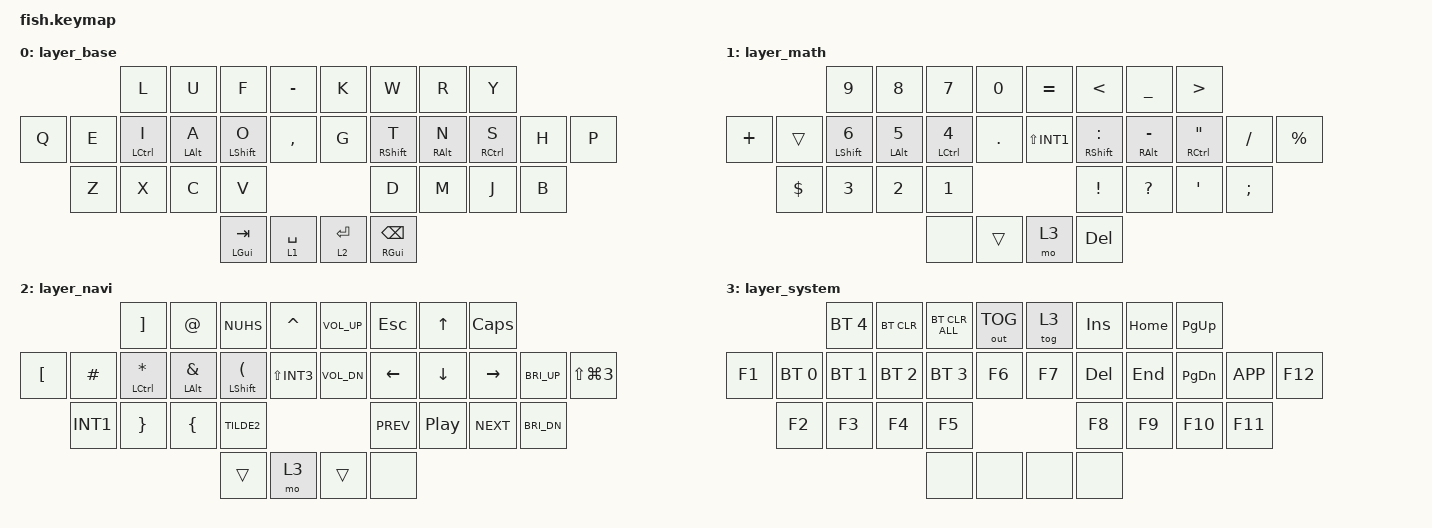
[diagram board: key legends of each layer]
// キーマップを更新する方法は https://o24.works/fish/guide を参照
// 視覚的に編集するには https://o24.works/fish/editor を参照


// 定義を呼んでくる
#include <behaviors.dtsi>
#include <dt-bindings/zmk/keys.h>
#include <dt-bindings/zmk/mouse.h>
#include <dt-bindings/zmk/bt.h>
#include <dt-bindings/zmk/outputs.h>


// 特殊入力の挙動を調整できる

&mt {
    flavor = "tap-preferred";
    tapping-term-ms = <225>;
    quick-tap-ms = <200>;
    require-prior-idle-ms = <150>;
};

&lt {
    flavor = "balanced";
    quick-tap-ms = <200>;
};

&sk {
};

&sl {
};

&caps_word {
};

&key_repeat {
};


/ {
    // 独自の入力を定義できる（上級者向け）

    behaviors {
    };

    macros {
    };

    conditional_layers {
    };


    // 複数キーの同時押しに特別の入力を設定できる
    // キー番号早見表：
    //       0  1  2  3     4  5  6  7
    // 8  9 10 11 12 13    14 15 16 17 18 19
    //   20 21 22 23          24 25 26 27
    //            28 29    30 31

    combos {
        compatible = "zmk,combos";
        timeout-ms = <150>;
        require-prior-idle-ms = <150>;

        combo_lang2 {
            key-positions = <21 22>;
            bindings = <&kp LANG2>;
        };

        combo_lang1 {
            key-positions = <25 26>;
            bindings = <&kp LANG1>;
        };

        combo_mb4 {
            key-positions = <11 12>;
            bindings = <&mkp MB4>;
        };

        combo_mb5 {
            key-positions = <15 16>;
            bindings = <&mkp MB5>;
        };

        combo_la_f4 {
            key-positions = <6 11 16>;
            bindings = <&kp LA(F4)>;
        };
    };
    

    // キーに入力を割り当てる
    // 型（&...）は https://zmk.dev/docs/behaviors/... を参照
    // キーコードは https://zmk.dev/docs/codes/... を参照

    keymap {
        compatible = "zmk,keymap";

        layer_base {
            bindings = <
                        &kp L       &kp U       &kp F       &kp MINUS           &kp K       &kp W       &kp R       &kp Y       
&kp Q       &kp E       &mt LCTRL I &mt LALT A  &mt LSHFT O &kp COMMA           &kp G       &mt RSHFT T &mt RALT N  &mt RCTRL S &kp H       &kp P       
            &kp Z       &kp X       &kp C       &kp V                                       &kp D       &kp M       &kp J       &kp B       
                                                &mt LGUI TAB &lt 1 SPACE        &lt 2 RET   &mt RGUI BSPC 
            >;
        };

        layer_math {
            bindings = <
                        &kp N9      &kp N8      &kp N7      &kp N0              &kp EQUAL   &kp LT      &kp UNDER   &kp GT      
&kp PLUS    &trans      &mt LSHFT N6 &mt LALT N5 &mt LCTRL N4 &kp DOT           &kp LS(INT1) &mt RSHFT COLON &mt RALT MINUS &mt RCTRL DQT &kp FSLH &kp PRCNT 
            &kp DLLR    &kp N3      &kp N2      &kp N1                                      &kp EXCL    &kp QMARK   &kp SQT     &kp SEMI    
                                                &none       &trans              &mo 3       &kp DEL     
            >;
        };

        layer_navi {
            bindings = <
                        &kp RBKT    &kp AT      &kp NUHS    &kp CARET           &kp C_VOL_UP &kp ESC    &kp UP      &kp CAPS    
&kp LBKT    &kp HASH    &mt LCTRL STAR &mt LALT AMPS &mt LSHFT LPAR &kp LS(INT3) &kp C_VOL_DN &kp LEFT  &kp DOWN    &kp RIGHT   &kp C_BRI_UP &kp LS(LG(N3)) 
            &kp INT1    &kp RBRC    &kp LBRC    &kp TILDE2                                  &kp C_PREV  &kp C_PP    &kp C_NEXT  &kp C_BRI_DN 
                                                &trans      &mo 3               &trans      &none       
            >;
        };

        layer_system {
            bindings = <
                        &bt BT_SEL 4 &bt BT_CLR &bt BT_CLR_ALL &out OUT_TOG     &tog 3      &kp INS     &kp HOME    &kp PG_UP   
&kp F1      &bt BT_SEL 0 &bt BT_SEL 1 &bt BT_SEL 2 &bt BT_SEL 3 &kp F6          &kp F7      &kp DEL     &kp END     &kp PG_DN   &kp K_APP   &kp F12     
            &kp F2      &kp F3      &kp F4      &kp F5                                      &kp F8      &kp F9      &kp F10     &kp F11     
                                                &none       &none               &none       &none       
            >;
        };
    };
};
